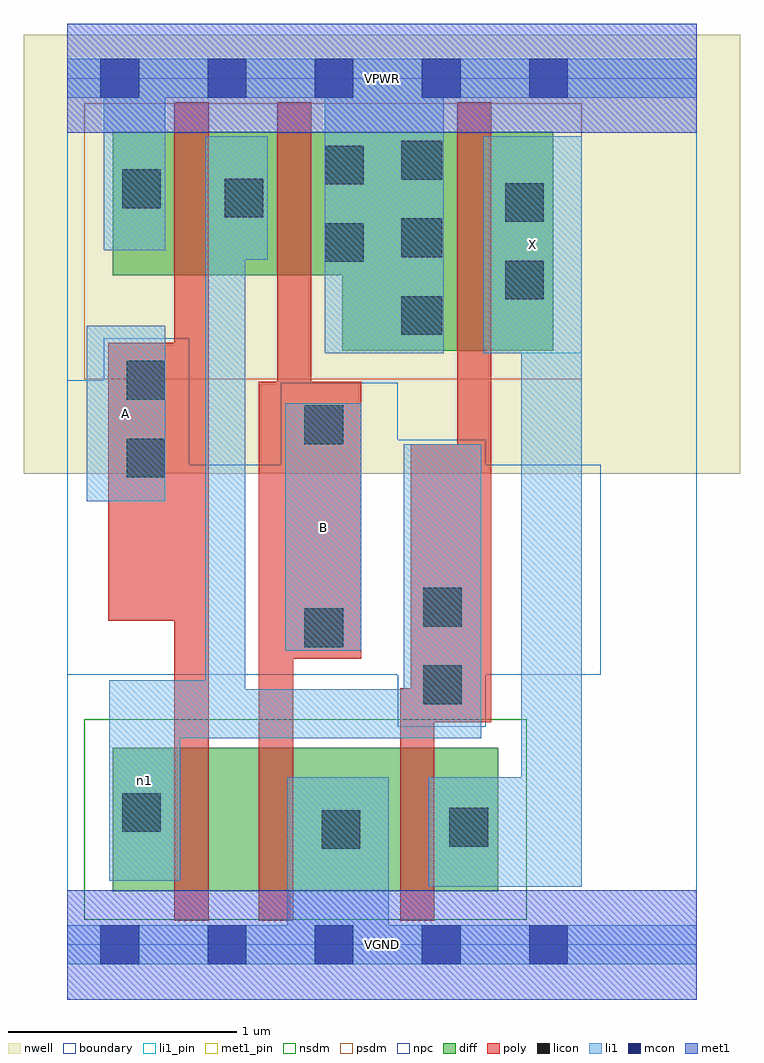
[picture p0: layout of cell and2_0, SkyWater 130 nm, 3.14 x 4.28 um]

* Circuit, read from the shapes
.subckt and2_0 A B VGND VPWR X n1
XM1 n2 A n1 VSUBS sky130_fd_pr__nfet_01v8 w=0.63 l=0.15
XM2 VGND B n2 VSUBS sky130_fd_pr__nfet_01v8 w=0.63 l=0.15
XM3 X n1 VGND VSUBS sky130_fd_pr__nfet_01v8 w=0.63 l=0.15
XM4 n1 A VPWR n3 sky130_fd_pr__pfet_01v8 w=0.63 l=0.15
XM5 VPWR B n1 n3 sky130_fd_pr__pfet_01v8 w=0.63 l=0.15
XM6 X n1 VPWR n3 sky130_fd_pr__pfet_01v8 w=0.96 l=0.15
.ends

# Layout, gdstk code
import gdstk
lib = gdstk.Library(unit=1e-6, precision=1e-09)
def R(c, l, rs):  # rectangles x0, y0, x1, y1
    for r in rs: c.add(gdstk.rectangle(r[:2], r[2:], *l))
def A(c, l, x, y, w, h, nx, ny, dx, dy):  # array of equal rectangles
    R(c, l, [(x+i*dx, y+j*dy, x+i*dx+w, y+j*dy+h) for i in range(nx) for j in range(ny)])
nwell = (64, 20)
diff = (65, 20)
poly = (66, 20)
licon = (66, 44)
li1_pin = (67, 16)
li1 = (67, 20)
mcon = (67, 44)
met1_pin = (68, 16)
met1 = (68, 20)
nsdm = (93, 44)
psdm = (94, 20)
npc = (95, 20)
boundary = (235, 4)

and2_0 = lib.new_cell('and2_0')
R(and2_0, nwell, [(-0.19,2.065,2.95,3.99), (0,2.065,2.76,3.99)])
R(and2_0, diff, [(0.2,0.235,1.89,0.865), (1.205,2.605,2.13,3.565), (0.2,2.935,2.13,3.565)])
R(and2_0, poly, [(0.47,0.105,0.62,3.695), (0.84,0.105,0.99,2.47), (1.46,0.105,1.61,1.125), (1.505,0.975,1.71,2.195), (1.71,0.975,1.86,3.695), (0.84,1.255,1.29,2.47), (0.92,1.255,1.07,3.695), (0.18,1.42,0.62,2.64)])
A(and2_0, licon, 1.465, 2.675, 0.17, 0.17, 1, 3, 0, 0.34)
A(and2_0, licon, 1.475, 2.675, 0.17, 0.17, 1, 3, 0, 0.34)
R(and2_0, licon, [(1.115,0.42,1.285,0.59), (1.675,0.43,1.845,0.6), (0.24,0.495,0.41,0.665), (1.56,1.055,1.73,1.225), (1.04,1.305,1.21,1.475), (1.56,1.395,1.73,1.565), (0.26,2.05,0.43,2.22), (1.04,2.195,1.21,2.365), (0.26,2.39,0.43,2.56), (1.92,2.83,2.09,3), (1.13,2.995,1.3,3.165), (1.92,3.17,2.09,3.34), (0.69,3.19,0.86,3.36), (0.24,3.23,0.41,3.4), (1.13,3.335,1.3,3.505)])
R(and2_0, li1_pin, [(0.955,1.29,1.29,2.375), (0.085,1.945,0.43,2.715), (1.825,2.595,2.255,3.545)])
R(and2_0, li1, [(0,-0.085,2.76,0.085), (0.965,-0.085,1.41,0.735), (1.585,0.255,2.255,0.735), (1.99,0.255,2.255,3.545), (0.185,0.28,0.495,1.16), (0.185,0.905,1.815,1.12), (0.185,0.905,0.78,1.16), (0.605,0.905,0.78,3.545), (1.475,0.905,1.815,2.195), (0.955,1.29,1.29,2.375), (0.085,1.945,0.43,2.715), (1.13,2.595,1.65,3.885), (1.825,2.595,2.255,3.545), (0.605,3.005,0.88,3.545), (0.16,3.045,0.43,3.885), (0,3.715,2.76,3.885)])
A(and2_0, mcon, 0.145, -0.085, 0.17, 0.17, 5, 2, 0.47, 3.8)
R(and2_0, met1_pin, [(0,-0.24,2.76,0.24), (0,3.56,2.76,4.04)])
R(and2_0, met1, [(0,-0.24,2.76,0.24), (0,3.56,2.76,4.04)])
R(and2_0, nsdm, [(0.075,0.11,2.015,0.99)])
R(and2_0, psdm, [(0.075,2.48,2.255,3.69)])
R(and2_0, npc, [(1.45,0.955,1.835,2.215), (0,1.185,2.34,2.105), (0,1.185,0.535,2.475), (0.16,1.185,0.535,2.66), (0.935,1.185,1.45,2.465)])
R(and2_0, boundary, [(0,0,2.76,3.8)])
and2_0.add(gdstk.Label('A', (0.257,2.33), layer=67, texttype=5))
and2_0.add(gdstk.Label('B', (1.122,1.832), layer=67, texttype=5))
and2_0.add(gdstk.Label('X', (2.04,3.07), layer=67, texttype=5))
and2_0.add(gdstk.Label('n1', (0.34,0.72), layer=67, texttype=5))
and2_0.add(gdstk.Label('VPWR', (1.38,3.8), layer=68, texttype=5))
and2_0.add(gdstk.Label('VGND', (1.38,0), layer=68, texttype=5))
and2_0.add(gdstk.Label('A', (0.257,2.33), layer=67, texttype=16))
and2_0.add(gdstk.Label('B', (1.122,1.832), layer=67, texttype=16))
and2_0.add(gdstk.Label('X', (2.04,3.07), layer=67, texttype=16))
and2_0.add(gdstk.Label('VPWR', (1.38,3.8), layer=68, texttype=16))
and2_0.add(gdstk.Label('VGND', (1.38,0), layer=68, texttype=16))

lib.write_gds('and2_0.gds')
